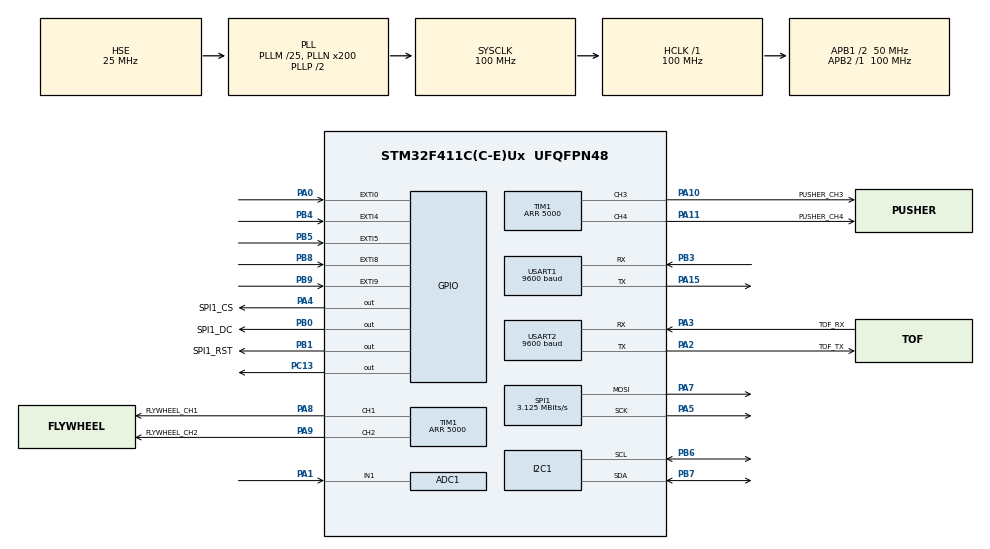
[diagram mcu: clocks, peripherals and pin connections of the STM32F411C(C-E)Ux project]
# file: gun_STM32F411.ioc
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ADC1.Channel-1\#ChannelRegularConversion=ADC_CHANNEL_1
ADC1.ContinuousConvMode=ENABLE
ADC1.DMAContinuousRequests=ENABLE
ADC1.InjNumberOfConversion=0
ADC1.NbrOfConversionFlag=1
ADC1.Rank-1\#ChannelRegularConversion=1
ADC1.SamplingTime-1\#ChannelRegularConversion=ADC_SAMPLETIME_480CYCLES
ADC1.ScanConvMode=ENABLE
ADC1.master=1
Dma.ADC1.2.Direction=DMA_PERIPH_TO_MEMORY
Dma.ADC1.2.FIFOMode=DMA_FIFOMODE_DISABLE
Dma.ADC1.2.Instance=DMA2_Stream0
Dma.ADC1.2.MemDataAlignment=DMA_MDATAALIGN_WORD
Dma.ADC1.2.MemInc=DMA_MINC_ENABLE
Dma.ADC1.2.Mode=DMA_CIRCULAR
Dma.ADC1.2.PeriphDataAlignment=DMA_PDATAALIGN_WORD
Dma.ADC1.2.PeriphInc=DMA_PINC_DISABLE
Dma.ADC1.2.Priority=DMA_PRIORITY_LOW
Dma.Request0=USART1_RX
Dma.Request1=USART2_RX
Dma.Request2=ADC1
Dma.Request3=SPI1_TX
Dma.SPI1_TX.3.Direction=DMA_MEMORY_TO_PERIPH
Dma.SPI1_TX.3.FIFOMode=DMA_FIFOMODE_DISABLE
Dma.SPI1_TX.3.Instance=DMA2_Stream3
Dma.SPI1_TX.3.MemDataAlignment=DMA_MDATAALIGN_BYTE
Dma.SPI1_TX.3.MemInc=DMA_MINC_ENABLE
Dma.SPI1_TX.3.Mode=DMA_NORMAL
Dma.SPI1_TX.3.PeriphDataAlignment=DMA_PDATAALIGN_BYTE
Dma.SPI1_TX.3.PeriphInc=DMA_PINC_DISABLE
Dma.SPI1_TX.3.Priority=DMA_PRIORITY_LOW
Dma.USART1_RX.0.Direction=DMA_PERIPH_TO_MEMORY
Dma.USART1_RX.0.FIFOMode=DMA_FIFOMODE_DISABLE
Dma.USART1_RX.0.Instance=DMA2_Stream2
Dma.USART1_RX.0.MemDataAlignment=DMA_MDATAALIGN_BYTE
Dma.USART1_RX.0.MemInc=DMA_MINC_ENABLE
Dma.USART1_RX.0.Mode=DMA_NORMAL
Dma.USART1_RX.0.PeriphDataAlignment=DMA_PDATAALIGN_BYTE
Dma.USART1_RX.0.PeriphInc=DMA_PINC_DISABLE
Dma.USART1_RX.0.Priority=DMA_PRIORITY_LOW
Dma.USART2_RX.1.Direction=DMA_PERIPH_TO_MEMORY
Dma.USART2_RX.1.FIFOMode=DMA_FIFOMODE_DISABLE
Dma.USART2_RX.1.Instance=DMA1_Stream5
Dma.USART2_RX.1.MemDataAlignment=DMA_MDATAALIGN_BYTE
Dma.USART2_RX.1.MemInc=DMA_MINC_ENABLE
Dma.USART2_RX.1.Mode=DMA_NORMAL
Dma.USART2_RX.1.PeriphDataAlignment=DMA_PDATAALIGN_BYTE
Dma.USART2_RX.1.PeriphInc=DMA_PINC_DISABLE
Dma.USART2_RX.1.Priority=DMA_PRIORITY_LOW
FREERTOS.Tasks01=defaultTask,24,128,StartDefaultTask,Default,NULL,Dynamic,NULL,NULL;commTask,24,128,StartCommTask,Default,NULL,Dynamic,NULL,NULL;displayTask,24,128,StartDisplayTask,Default,NULL,Dynamic,NULL,NULL;sensorTask,24,128,StartSensorTask,Default,NULL,Dynamic,NULL,NULL;hostRxTask,24,128,StartHostRxTask,Default,NULL,Dynamic,NULL,NULL;hostTxTask,24,128,StartHostTxTask,Default,NULL,Dynamic,NULL,NULL
FREERTOS.configUSE_NEWLIB_REENTRANT=1
Mcu.Family=STM32F4
Mcu.Name=STM32F411C(C-E)Ux
Mcu.Package=UFQFPN48
NVIC.DMA1_Stream5_IRQn=true\:5\:0\:false\:false\:true\:true\:false\:true\:true
NVIC.DMA2_Stream0_IRQn=true\:5\:0\:false\:false\:true\:true\:false\:true\:true
NVIC.DMA2_Stream2_IRQn=true\:5\:0\:false\:false\:true\:true\:false\:true\:true
NVIC.DMA2_Stream3_IRQn=true\:5\:0\:false\:false\:true\:true\:false\:true\:true
NVIC.EXTI0_IRQn=true\:5\:0\:false\:false\:true\:true\:true\:true\:true
NVIC.EXTI4_IRQn=true\:5\:0\:false\:false\:true\:true\:true\:true\:true
NVIC.EXTI9_5_IRQn=true\:5\:0\:false\:false\:true\:true\:true\:true\:true
NVIC.PriorityGroup=NVIC_PRIORITYGROUP_4
NVIC.TIM1_TRG_COM_TIM11_IRQn=true\:15\:0\:false\:false\:true\:false\:false\:true\:true
NVIC.TimeBase=TIM1_TRG_COM_TIM11_IRQn
NVIC.TimeBaseIP=TIM11
NVIC.USART1_IRQn=true\:5\:0\:false\:false\:true\:true\:true\:true\:true
NVIC.USART2_IRQn=true\:5\:0\:false\:false\:true\:true\:true\:true\:true
PA0-WKUP.Signal=GPXTI0
PA1.Signal=ADCx_IN1
PA10.GPIO_Label=PUSHER_CH3
PA10.Signal=S_TIM1_CH3
PA11.GPIO_Label=PUSHER_CH4
PA11.Signal=S_TIM1_CH4
PA13.Mode=Serial_Wire
PA13.Signal=SYS_JTMS-SWDIO
PA14.Mode=Serial_Wire
PA14.Signal=SYS_JTCK-SWCLK
PA15.Mode=Asynchronous
PA15.Signal=USART1_TX
PA2.GPIO_Label=TOF_TX
PA2.Mode=Asynchronous
PA2.Signal=USART2_TX
PA3.GPIO_Label=TOF_RX
PA3.Mode=Asynchronous
PA3.Signal=USART2_RX
PA4.GPIO_Label=SPI1_CS
PA4.Signal=GPIO_Output
PA5.Mode=TX_Only_Simplex_Unidirect_Master
PA5.Signal=SPI1_SCK
PA7.Mode=TX_Only_Simplex_Unidirect_Master
PA7.Signal=SPI1_MOSI
PA8.GPIO_Label=FLYWHEEL_CH1
PA8.Signal=S_TIM1_CH1
PA9.GPIO_Label=FLYWHEEL_CH2
PA9.Signal=S_TIM1_CH2
PB0.GPIO_Label=SPI1_DC
PB0.Signal=GPIO_Output
PB1.GPIO_Label=SPI1_RST
PB1.Signal=GPIO_Output
PB3.Mode=Asynchronous
PB3.Signal=USART1_RX
PB4.GPIO_ModeDefaultEXTI=GPIO_MODE_IT_RISING_FALLING
PB4.GPIO_PuPd=GPIO_PULLUP
PB4.Signal=GPXTI4
PB5.GPIO_ModeDefaultEXTI=GPIO_MODE_IT_RISING_FALLING
PB5.GPIO_PuPd=GPIO_PULLUP
PB5.Signal=GPXTI5
PB6.Mode=I2C
PB6.Signal=I2C1_SCL
PB7.Mode=I2C
PB7.Signal=I2C1_SDA
PB8.GPIO_ModeDefaultEXTI=GPIO_MODE_IT_RISING_FALLING
PB8.GPIO_PuPd=GPIO_PULLUP
PB8.Signal=GPXTI8
PB9.GPIO_ModeDefaultEXTI=GPIO_MODE_IT_RISING_FALLING
PB9.GPIO_PuPd=GPIO_PULLUP
PB9.Signal=GPXTI9
PC13-ANTI_TAMP.Signal=GPIO_Output
PC14-OSC32_IN.Mode=LSE-External-Oscillator
PC14-OSC32_IN.Signal=RCC_OSC32_IN
PC15-OSC32_OUT.Mode=LSE-External-Oscillator
PC15-OSC32_OUT.Signal=RCC_OSC32_OUT
PH0\ -\ OSC_IN.Mode=HSE-External-Oscillator
PH0\ -\ OSC_IN.Signal=RCC_OSC_IN
PH1\ -\ OSC_OUT.Mode=HSE-External-Oscillator
PH1\ -\ OSC_OUT.Signal=RCC_OSC_OUT
ProjectManager.HeapSize=0x200
ProjectManager.StackSize=0x400
ProjectManager.TargetToolchain=STM32CubeIDE
RCC.48MHZClocksFreq_Value=50000000
RCC.AHBFreq_Value=100000000
RCC.APB1CLKDivider=RCC_HCLK_DIV2
RCC.APB1Freq_Value=50000000
RCC.APB1TimFreq_Value=100000000
RCC.APB2Freq_Value=100000000
RCC.APB2TimFreq_Value=100000000
RCC.CortexFreq_Value=100000000
RCC.HCLKFreq_Value=100000000
RCC.HSE_VALUE=25000000
RCC.HSI_VALUE=16000000
RCC.PLLM=25
RCC.PLLN=200
RCC.PLLSourceVirtual=RCC_PLLSOURCE_HSE
RCC.SYSCLKFreq_VALUE=100000000
RCC.SYSCLKSource=RCC_SYSCLKSOURCE_PLLCLK
RCC.VCOOutputFreq_Value=200000000
SH.ADCx_IN1.0=ADC1_IN1,IN1
SH.S_TIM1_CH1.0=TIM1_CH1,PWM Generation1 CH1
SH.S_TIM1_CH2.0=TIM1_CH2,PWM Generation2 CH2
SH.S_TIM1_CH3.0=TIM1_CH3,PWM Generation3 CH3
SH.S_TIM1_CH4.0=TIM1_CH4,PWM Generation4 CH4
SPI1.BaudRatePrescaler=SPI_BAUDRATEPRESCALER_32
SPI1.CalculateBaudRate=3.125 MBits/s
SPI1.Direction=SPI_DIRECTION_2LINES
SPI1.Mode=SPI_MODE_MASTER
SPI1.VirtualType=VM_MASTER
TIM1.Channel-PWM\ Generation1\ CH1=TIM_CHANNEL_1
TIM1.Channel-PWM\ Generation2\ CH2=TIM_CHANNEL_2
TIM1.Channel-PWM\ Generation3\ CH3=TIM_CHANNEL_3
TIM1.Channel-PWM\ Generation4\ CH4=TIM_CHANNEL_4
TIM1.Period=5000
USART1.BaudRate=9600
USART1.VirtualMode=VM_ASYNC
USART2.BaudRate=9600
USART2.VirtualMode=VM_ASYNC
VP_FREERTOS_VS_CMSIS_V2.Mode=CMSIS_V2
VP_SYS_VS_tim11.Mode=TIM11
board=custom

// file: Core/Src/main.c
/* USER CODE BEGIN Header */
/**
  ******************************************************************************
  * @file           : main.c
  * @brief          : Main program body
  ******************************************************************************
  * @attention
  *
  * Copyright (c) 2025 STMicroelectronics.
  * All rights reserved.
  *
  * This software is licensed under terms that can be found in the LICENSE file
  * in the root directory of this software component.
  * If no LICENSE file comes with this software, it is provided AS-IS.
  *
  ******************************************************************************
  */
/* USER CODE END Header */
#include "main.h"
#include "cmsis_os.h"

/* USER CODE BEGIN Includes */
#include <stdbool.h>
#include <string.h>
#include <stdio.h>
#include <stdlib.h>
#include "GC9A01.h"
/* USER CODE END Includes */

/* USER CODE BEGIN PD */
#define RX_BUFFER_SIZE   64
#define TX_BUFFER_SIZE   64
#define LINE_BUFFER_SIZE 64
#define ADC_BUF_LEN      32 // must be even (half-buffer processing)
#define VREF             3.3f  // VDDA if you don’t compensate with Vrefint
#define DIV_SCALE        ((9.5f + 21.2f) / 9.5f)  // 3.2 for 10k/22k
#define ADC_MAX          4095.0f
/* USER CODE END PD */

ADC_HandleTypeDef hadc1;
DMA_HandleTypeDef hdma_adc1;

I2C_HandleTypeDef hi2c1;

SPI_HandleTypeDef hspi1;
DMA_HandleTypeDef hdma_spi1_tx;

TIM_HandleTypeDef htim1;

UART_HandleTypeDef huart1;
UART_HandleTypeDef huart2;
DMA_HandleTypeDef hdma_usart1_rx;
DMA_HandleTypeDef hdma_usart2_rx;

/* Definitions for defaultTask */
osThreadId_t defaultTaskHandle;
const osThreadAttr_t defaultTask_attributes = {
  .name = "defaultTask",
  .stack_size = 128 * 4,
  .priority = (osPriority_t) osPriorityNormal,
};
/* Definitions for commTask */
osThreadId_t commTaskHandle;
const osThreadAttr_t commTask_attributes = {
  .name = "commTask",
  .stack_size = 128 * 4,
  .priority = (osPriority_t) osPriorityNormal,
};
/* Definitions for displayTask */
osThreadId_t displayTaskHandle;
const osThreadAttr_t displayTask_attributes = {
  .name = "displayTask",
  .stack_size = 128 * 4,
  .priority = (osPriority_t) osPriorityNormal,
};
/* Definitions for sensorTask */
osThreadId_t sensorTaskHandle;
const osThreadAttr_t sensorTask_attributes = {
  .name = "sensorTask",
  .stack_size = 128 * 4,
  .priority = (osPriority_t) osPriorityNormal,
};
/* Definitions for hostRxTask */
osThreadId_t hostRxTaskHandle;
const osThreadAttr_t hostRxTask_attributes = {
  .name = "hostRxTask",
  .stack_size = 128 * 4,
  .priority = (osPriority_t) osPriorityNormal,
};
/* Definitions for hostTxTask */
osThreadId_t hostTxTaskHandle;
const osThreadAttr_t hostTxTask_attributes = {
  .name = "hostTxTask",
  .stack_size = 128 * 4,
  .priority = (osPriority_t) osPriorityNormal,
};
/* USER CODE BEGIN PV */
uint8_t rxBuffer[RX_BUFFER_SIZE]; // ToF sensor comm
uint8_t txBuffer[TX_BUFFER_SIZE]; // ToF sensor comm

volatile uint16_t rxLen = 0; // ToF sensor comm

static volatile uint32_t adc_buf[ADC_BUF_LEN] __attribute__((aligned(4)));

static volatile float battery_voltage = 0;

volatile bool magazine = false;
volatile bool trigger1 = false;
volatile bool trigger2 = false;
volatile bool pusher_switch = false;
volatile bool trigger2_latched = false;
volatile bool need_false = false;
volatile bool armed = false;

static volatile uint32_t distance = 9999;
static uint8_t ammo_counter = 12;
volatile bool no_mag_flag = false;
volatile bool was_no_mag_flag = false;
volatile bool shot_is_happening = false;
uint8_t shot_counter = 0;

uint8_t rxCommBuffer[RX_BUFFER_SIZE];
uint8_t txCommBuffer[TX_BUFFER_SIZE];
uint8_t lineBuffer[LINE_BUFFER_SIZE];
volatile uint16_t rxCommLen = 0;
uint16_t lineBufferIndex = 0;

static volatile uint32_t shot_timestamp = 0;
volatile uint32_t speed_up_threshold = 2000;
volatile uint32_t shooting_cooldown = 1500;
static volatile uint32_t sequence_time = 0;
static volatile uint32_t last_shot = 0;
/* USER CODE END PV */

void SystemClock_Config(void);
static void MX_GPIO_Init(void);
static void MX_DMA_Init(void);
static void MX_ADC1_Init(void);
static void MX_I2C1_Init(void);
static void MX_SPI1_Init(void);
static void MX_TIM1_Init(void);
static void MX_USART1_UART_Init(void);
static void MX_USART2_UART_Init(void);
void StartDefaultTask(void *argument);
void StartCommTask(void *argument);
void StartDisplayTask(void *argument);
void StartSensorTask(void *argument);
void StartHostRxTask(void *argument);
void StartHostTxTask(void *argument);

int main(void)
{

  /* MCU Configuration--------------------------------------------------------*/

  /* Reset of all peripherals, Initializes the Flash interface and the Systick. */
  HAL_Init();

  /* Configure the system clock */
  SystemClock_Config();

  /* Initialize all configured peripherals */
  MX_GPIO_Init();
  MX_DMA_Init();
  MX_ADC1_Init();
  MX_I2C1_Init();
  MX_SPI1_Init();
  MX_TIM1_Init();
  MX_USART1_UART_Init();
  MX_USART2_UART_Init();

  /* Init scheduler */
  osKernelInitialize();

  /* Create the thread(s) */
  /* creation of defaultTask */
  defaultTaskHandle = osThreadNew(StartDefaultTask, NULL, &defaultTask_attributes);

  /* creation of commTask */
  commTaskHandle = osThreadNew(StartCommTask, NULL, &commTask_attributes);

  /* creation of displayTask */
  displayTaskHandle = osThreadNew(StartDisplayTask, NULL, &displayTask_attributes);

  /* creation of sensorTask */
  sensorTaskHandle = osThreadNew(StartSensorTask, NULL, &sensorTask_attributes);

  /* creation of hostRxTask */
  hostRxTaskHandle = osThreadNew(StartHostRxTask, NULL, &hostRxTask_attributes);

  /* creation of hostTxTask */
  hostTxTaskHandle = osThreadNew(StartHostTxTask, NULL, &hostTxTask_attributes);

  /* Start scheduler */
  osKernelStart();

  /* We should never get here as control is now taken by the scheduler */

  /* Infinite loop */
  while (1)
  {

  }
}

void SystemClock_Config(void)
{
  RCC_OscInitTypeDef RCC_OscInitStruct = {0};
  RCC_ClkInitTypeDef RCC_ClkInitStruct = {0};

  /** Configure the main internal regulator output voltage
  */
  __HAL_RCC_PWR_CLK_ENABLE();
  __HAL_PWR_VOLTAGESCALING_CONFIG(PWR_REGULATOR_VOLTAGE_SCALE1);

  /** Initializes the RCC Oscillators according to the specified parameters
  * in the RCC_OscInitTypeDef structure.
  */
  RCC_OscInitStruct.OscillatorType = RCC_OSCILLATORTYPE_HSE;
  RCC_OscInitStruct.HSEState = RCC_HSE_ON;
  RCC_OscInitStruct.PLL.PLLState = RCC_PLL_ON;
  RCC_OscInitStruct.PLL.PLLSource = RCC_PLLSOURCE_HSE;
  RCC_OscInitStruct.PLL.PLLM = 25;
  RCC_OscInitStruct.PLL.PLLN = 200;
  RCC_OscInitStruct.PLL.PLLP = RCC_PLLP_DIV2;
  RCC_OscInitStruct.PLL.PLLQ = 4;
  if (HAL_RCC_OscConfig(&RCC_OscInitStruct) != HAL_OK)
  {
    Error_Handler();
  }

  /** Initializes the CPU, AHB and APB buses clocks
  */
  RCC_ClkInitStruct.ClockType = RCC_CLOCKTYPE_HCLK|RCC_CLOCKTYPE_SYSCLK
                              |RCC_CLOCKTYPE_PCLK1|RCC_CLOCKTYPE_PCLK2;
  RCC_ClkInitStruct.SYSCLKSource = RCC_SYSCLKSOURCE_PLLCLK;
  RCC_ClkInitStruct.AHBCLKDivider = RCC_SYSCLK_DIV1;
  RCC_ClkInitStruct.APB1CLKDivider = RCC_HCLK_DIV2;
  RCC_ClkInitStruct.APB2CLKDivider = RCC_HCLK_DIV1;

  if (HAL_RCC_ClockConfig(&RCC_ClkInitStruct, FLASH_LATENCY_3) != HAL_OK)
  {
    Error_Handler();
  }
}

static void MX_ADC1_Init(void)
{

  ADC_ChannelConfTypeDef sConfig = {0};

  /** Configure the global features of the ADC (Clock, Resolution, Data Alignment and number of conversion)
  */
  hadc1.Instance = ADC1;
  hadc1.Init.ClockPrescaler = ADC_CLOCK_SYNC_PCLK_DIV4;
  hadc1.Init.Resolution = ADC_RESOLUTION_12B;
  hadc1.Init.ScanConvMode = ENABLE;
  hadc1.Init.ContinuousConvMode = ENABLE;
  hadc1.Init.DiscontinuousConvMode = DISABLE;
  hadc1.Init.ExternalTrigConvEdge = ADC_EXTERNALTRIGCONVEDGE_NONE;
  hadc1.Init.ExternalTrigConv = ADC_SOFTWARE_START;
  hadc1.Init.DataAlign = ADC_DATAALIGN_RIGHT;
  hadc1.Init.NbrOfConversion = 1;
  hadc1.Init.DMAContinuousRequests = ENABLE;
  hadc1.Init.EOCSelection = ADC_EOC_SINGLE_CONV;
  if (HAL_ADC_Init(&hadc1) != HAL_OK)
  {
    Error_Handler();
  }

  /** Configure for the selected ADC regular channel its corresponding rank in the sequencer and its sample time.
  */
  sConfig.Channel = ADC_CHANNEL_1;
  sConfig.Rank = 1;
  sConfig.SamplingTime = ADC_SAMPLETIME_480CYCLES;
  if (HAL_ADC_ConfigChannel(&hadc1, &sConfig) != HAL_OK)
  {
    Error_Handler();
  }

}

static void MX_I2C1_Init(void)
{

  hi2c1.Instance = I2C1;
  hi2c1.Init.ClockSpeed = 100000;
  hi2c1.Init.DutyCycle = I2C_DUTYCYCLE_2;
  hi2c1.Init.OwnAddress1 = 0;
  hi2c1.Init.AddressingMode = I2C_ADDRESSINGMODE_7BIT;
  hi2c1.Init.DualAddressMode = I2C_DUALADDRESS_DISABLE;
  hi2c1.Init.OwnAddress2 = 0;
  hi2c1.Init.GeneralCallMode = I2C_GENERALCALL_DISABLE;
  hi2c1.Init.NoStretchMode = I2C_NOSTRETCH_DISABLE;
  if (HAL_I2C_Init(&hi2c1) != HAL_OK)
  {
    Error_Handler();
  }

}

static void MX_SPI1_Init(void)
{

  /* SPI1 parameter configuration*/
  hspi1.Instance = SPI1;
  hspi1.Init.Mode = SPI_MODE_MASTER;
  hspi1.Init.Direction = SPI_DIRECTION_2LINES;
  hspi1.Init.DataSize = SPI_DATASIZE_8BIT;
  hspi1.Init.CLKPolarity = SPI_POLARITY_LOW;
  hspi1.Init.CLKPhase = SPI_PHASE_1EDGE;
  hspi1.Init.NSS = SPI_NSS_SOFT;
  hspi1.Init.BaudRatePrescaler = SPI_BAUDRATEPRESCALER_32;
  hspi1.Init.FirstBit = SPI_FIRSTBIT_MSB;
  hspi1.Init.TIMode = SPI_TIMODE_DISABLE;
  hspi1.Init.CRCCalculation = SPI_CRCCALCULATION_DISABLE;
  hspi1.Init.CRCPolynomial = 10;
  if (HAL_SPI_Init(&hspi1) != HAL_OK)
  {
    Error_Handler();
  }

}

static void MX_TIM1_Init(void)
{

  TIM_MasterConfigTypeDef sMasterConfig = {0};
  TIM_OC_InitTypeDef sConfigOC = {0};
  TIM_BreakDeadTimeConfigTypeDef sBreakDeadTimeConfig = {0};

  htim1.Instance = TIM1;
  htim1.Init.Prescaler = 0;
  htim1.Init.CounterMode = TIM_COUNTERMODE_UP;
  htim1.Init.Period = 5000;
  htim1.Init.ClockDivision = TIM_CLOCKDIVISION_DIV1;
  htim1.Init.RepetitionCounter = 0;
  htim1.Init.AutoReloadPreload = TIM_AUTORELOAD_PRELOAD_DISABLE;
  if (HAL_TIM_PWM_Init(&htim1) != HAL_OK)
  {
    Error_Handler();
  }
  sMasterConfig.MasterOutputTrigger = TIM_TRGO_RESET;
  sMasterConfig.MasterSlaveMode = TIM_MASTERSLAVEMODE_DISABLE;
  if (HAL_TIMEx_MasterConfigSynchronization(&htim1, &sMasterConfig) != HAL_OK)
  {
    Error_Handler();
  }
  sConfigOC.OCMode = TIM_OCMODE_PWM1;
  sConfigOC.Pulse = 0;
  sConfigOC.OCPolarity = TIM_OCPOLARITY_HIGH;
  sConfigOC.OCNPolarity = TIM_OCNPOLARITY_HIGH;
  sConfigOC.OCFastMode = TIM_OCFAST_DISABLE;
  sConfigOC.OCIdleState = TIM_OCIDLESTATE_RESET;
  sConfigOC.OCNIdleState = TIM_OCNIDLESTATE_RESET;
  if (HAL_TIM_PWM_ConfigChannel(&htim1, &sConfigOC, TIM_CHANNEL_1) != HAL_OK)
  {
    Error_Handler();
  }
  if (HAL_TIM_PWM_ConfigChannel(&htim1, &sConfigOC, TIM_CHANNEL_2) != HAL_OK)
  {
    Error_Handler();
  }
  if (HAL_TIM_PWM_ConfigChannel(&htim1, &sConfigOC, TIM_CHANNEL_3) != HAL_OK)
  {
    Error_Handler();
  }
  if (HAL_TIM_PWM_ConfigChannel(&htim1, &sConfigOC, TIM_CHANNEL_4) != HAL_OK)
  {
    Error_Handler();
  }
  sBreakDeadTimeConfig.OffStateRunMode = TIM_OSSR_DISABLE;
  sBreakDeadTimeConfig.OffStateIDLEMode = TIM_OSSI_DISABLE;
  sBreakDeadTimeConfig.LockLevel = TIM_LOCKLEVEL_OFF;
  sBreakDeadTimeConfig.DeadTime = 0;
  sBreakDeadTimeConfig.BreakState = TIM_BREAK_DISABLE;
  sBreakDeadTimeConfig.BreakPolarity = TIM_BREAKPOLARITY_HIGH;
  sBreakDeadTimeConfig.AutomaticOutput = TIM_AUTOMATICOUTPUT_DISABLE;
  if (HAL_TIMEx_ConfigBreakDeadTime(&htim1, &sBreakDeadTimeConfig) != HAL_OK)
  {
    Error_Handler();
  }
  HAL_TIM_MspPostInit(&htim1);

}

static void MX_USART1_UART_Init(void)
{

  huart1.Instance = USART1;
  huart1.Init.BaudRate = 9600;
  huart1.Init.WordLength = UART_WORDLENGTH_8B;
  huart1.Init.StopBits = UART_STOPBITS_1;
  huart1.Init.Parity = UART_PARITY_NONE;
  huart1.Init.Mode = UART_MODE_TX_RX;
  huart1.Init.HwFlowCtl = UART_HWCONTROL_NONE;
  huart1.Init.OverSampling = UART_OVERSAMPLING_16;
  if (HAL_UART_Init(&huart1) != HAL_OK)
  {
    Error_Handler();
  }

}

static void MX_USART2_UART_Init(void)
{

  huart2.Instance = USART2;
  huart2.Init.BaudRate = 9600;
  huart2.Init.WordLength = UART_WORDLENGTH_8B;
  huart2.Init.StopBits = UART_STOPBITS_1;
  huart2.Init.Parity = UART_PARITY_NONE;
  huart2.Init.Mode = UART_MODE_TX_RX;
  huart2.Init.HwFlowCtl = UART_HWCONTROL_NONE;
  huart2.Init.OverSampling = UART_OVERSAMPLING_16;
  if (HAL_UART_Init(&huart2) != HAL_OK)
  {
    Error_Handler();
  }

}

static void MX_DMA_Init(void)
{

  /* DMA controller clock enable */
  __HAL_RCC_DMA2_CLK_ENABLE();
  __HAL_RCC_DMA1_CLK_ENABLE();

  /* DMA interrupt init */
  /* DMA1_Stream5_IRQn interrupt configuration */
  HAL_NVIC_SetPriority(DMA1_Stream5_IRQn, 5, 0);
  HAL_NVIC_EnableIRQ(DMA1_Stream5_IRQn);
  /* DMA2_Stream0_IRQn interrupt configuration */
  HAL_NVIC_SetPriority(DMA2_Stream0_IRQn, 5, 0);
  HAL_NVIC_EnableIRQ(DMA2_Stream0_IRQn);
  /* DMA2_Stream2_IRQn interrupt configuration */
  HAL_NVIC_SetPriority(DMA2_Stream2_IRQn, 5, 0);
  HAL_NVIC_EnableIRQ(DMA2_Stream2_IRQn);
  /* DMA2_Stream3_IRQn interrupt configuration */
  HAL_NVIC_SetPriority(DMA2_Stream3_IRQn, 5, 0);
  HAL_NVIC_EnableIRQ(DMA2_Stream3_IRQn);

}

static void MX_GPIO_Init(void)
{
  GPIO_InitTypeDef GPIO_InitStruct = {0};

  /* GPIO Ports Clock Enable */
  __HAL_RCC_GPIOC_CLK_ENABLE();
  __HAL_RCC_GPIOH_CLK_ENABLE();
  __HAL_RCC_GPIOA_CLK_ENABLE();
  __HAL_RCC_GPIOB_CLK_ENABLE();

  /*Configure GPIO pin Output Level */
  HAL_GPIO_WritePin(GPIOC, GPIO_PIN_13, GPIO_PIN_RESET);

  /*Configure GPIO pin Output Level */
  HAL_GPIO_WritePin(SPI1_CS_GPIO_Port, SPI1_CS_Pin, GPIO_PIN_RESET);

  /*Configure GPIO pin Output Level */
  HAL_GPIO_WritePin(GPIOB, SPI1_DC_Pin|SPI1_RST_Pin, GPIO_PIN_RESET);

  /*Configure GPIO pin : PC13 */
  GPIO_InitStruct.Pin = GPIO_PIN_13;
  GPIO_InitStruct.Mode = GPIO_MODE_OUTPUT_PP;
  GPIO_InitStruct.Pull = GPIO_NOPULL;
  GPIO_InitStruct.Speed = GPIO_SPEED_FREQ_LOW;
  HAL_GPIO_Init(GPIOC, &GPIO_InitStruct);

  /*Configure GPIO pin : PA0 */
  GPIO_InitStruct.Pin = GPIO_PIN_0;
  GPIO_InitStruct.Mode = GPIO_MODE_IT_RISING;
  GPIO_InitStruct.Pull = GPIO_NOPULL;
  HAL_GPIO_Init(GPIOA, &GPIO_InitStruct);

  /*Configure GPIO pin : SPI1_CS_Pin */
  GPIO_InitStruct.Pin = SPI1_CS_Pin;
  GPIO_InitStruct.Mode = GPIO_MODE_OUTPUT_PP;
  GPIO_InitStruct.Pull = GPIO_NOPULL;
  GPIO_InitStruct.Speed = GPIO_SPEED_FREQ_LOW;
  HAL_GPIO_Init(SPI1_CS_GPIO_Port, &GPIO_InitStruct);

  /*Configure GPIO pins : SPI1_DC_Pin SPI1_RST_Pin */
  GPIO_InitStruct.Pin = SPI1_DC_Pin|SPI1_RST_Pin;
  GPIO_InitStruct.Mode = GPIO_MODE_OUTPUT_PP;
  GPIO_InitStruct.Pull = GPIO_NOPULL;
  GPIO_InitStruct.Speed = GPIO_SPEED_FREQ_LOW;
  HAL_GPIO_Init(GPIOB, &GPIO_InitStruct);

  /*Configure GPIO pins : PB4 PB5 PB8 PB9 */
  GPIO_InitStruct.Pin = GPIO_PIN_4|GPIO_PIN_5|GPIO_PIN_8|GPIO_PIN_9;
  GPIO_InitStruct.Mode = GPIO_MODE_IT_RISING_FALLING;
  GPIO_InitStruct.Pull = GPIO_PULLUP;
  HAL_GPIO_Init(GPIOB, &GPIO_InitStruct);

  /* EXTI interrupt init*/
  HAL_NVIC_SetPriority(EXTI0_IRQn, 5, 0);
  HAL_NVIC_EnableIRQ(EXTI0_IRQn);

  HAL_NVIC_SetPriority(EXTI4_IRQn, 5, 0);
  HAL_NVIC_EnableIRQ(EXTI4_IRQn);

  HAL_NVIC_SetPriority(EXTI9_5_IRQn, 5, 0);
  HAL_NVIC_EnableIRQ(EXTI9_5_IRQn);

}

/* USER CODE BEGIN 4 */
void HAL_GPIO_EXTI_Callback(uint16_t GPIO_Pin) {
	switch (GPIO_Pin) {
	case GPIO_PIN_4:
		if (HAL_GPIO_ReadPin(GPIOB, GPIO_PIN_4) == GPIO_PIN_RESET){
			pusher_switch = true;
		}
		else {
			pusher_switch = false;
		}
		break;
	case GPIO_PIN_5:
		if (HAL_GPIO_ReadPin(GPIOB, GPIO_PIN_5) == GPIO_PIN_RESET){
			magazine = true;
		}
		else {
			magazine = false;
		}
		break;
	case GPIO_PIN_8:
		if (HAL_GPIO_ReadPin(GPIOB, GPIO_PIN_8) == GPIO_PIN_RESET){
			trigger1 = true;
		}
		else {
			trigger1 = false;
		}
		break;
	case GPIO_PIN_9:
		if (HAL_GPIO_ReadPin(GPIOB, GPIO_PIN_9) == GPIO_PIN_RESET){
			trigger2 = true;
		}
		else {
			trigger2 = false;
		}
		break;
	}
}

void HAL_ADC_ConvHalfCpltCallback(ADC_HandleTypeDef *hadc)
{
    if (hadc == &hadc1) {
        process_half(0, ADC_BUF_LEN / 2);
    }
}

void HAL_ADC_ConvCpltCallback(ADC_HandleTypeDef *hadc)
{
    if (hadc == &hadc1) {
        process_half(ADC_BUF_LEN / 2, ADC_BUF_LEN / 2);
    }
}

static void process_half(size_t offset, size_t count)
{
    uint32_t sum = 0;

    // If your buffer is uint32_t, the 12-bit value sits in the lower bits (right-aligned)
    for (size_t i = 0; i < count; ++i) {
        sum += (uint16_t)adc_buf[offset + i];
    }

    uint16_t avg_raw = (uint16_t)(sum / count);

    float v_pin  = (avg_raw * VREF) / ADC_MAX;
    battery_voltage = v_pin * DIV_SCALE;
}
/* USER CODE END 4 */

void StartDefaultTask(void *argument)
{
  /* USER CODE BEGIN 5 */
  HAL_TIM_PWM_Start(&htim1, TIM_CHANNEL_1);
  HAL_TIMEx_PWMN_Start(&htim1, TIM_CHANNEL_1);
  HAL_TIM_PWM_Start(&htim1, TIM_CHANNEL_2);
  HAL_TIMEx_PWMN_Start(&htim1, TIM_CHANNEL_2);
  HAL_TIM_PWM_Start(&htim1, TIM_CHANNEL_3);
  HAL_TIMEx_PWMN_Start(&htim1, TIM_CHANNEL_3);
  HAL_TIM_PWM_Start(&htim1, TIM_CHANNEL_4);
  HAL_TIMEx_PWMN_Start(&htim1, TIM_CHANNEL_4);

  //Initialize speeder motor controls
  TIM1->CCR1 = 0*5000/100;
  TIM1->CCR2 = 0*5000/100;

  TIM1->CCR3 = 0*5000/100;
  TIM1->CCR4 = 0*5000/100;

  uint16_t i = 0;
  HAL_GPIO_TogglePin(GPIOC, GPIO_PIN_13);

  /* Infinite loop */
  for(;;)
  {

	if (trigger1 && trigger2) {
		shot_counter = 1;
	}

	// automatic control
	if (shot_counter > 0 && ammo_counter > 0){
		shot_is_happening = true;
		sequence_time = HAL_GetTick() - shot_timestamp;

		// note: sequence starts from else branch and goes up on the tree!
		if ( sequence_time > 700) {
			TIM1->CCR1 = 90*5000/100;
			TIM1->CCR2 = 0*5000/100;
		}
		else if ( sequence_time > 500) {
			TIM1->CCR1 = 87*5000/100;
			TIM1->CCR2 = 0*5000/100;
		}
		else if ( sequence_time > 400) {
			TIM1->CCR1 = 85*5000/100;
			TIM1->CCR2 = 0*5000/100;
		}
		else if ( sequence_time > 200) {
			// then give it a kick to overcome static friction of the spinner wheels
			TIM1->CCR1 = 80*5000/100;
			TIM1->CCR2 = 0*5000/100;
		}
		else {
			// in the first few 100 ms give time to the motor to go from dynamic braking to high Z
			TIM1->CCR1 = 0*5000/100;
			TIM1->CCR2 = 0*5000/100;
		}

		// volatile uint32_t speed_up_threshold = 3500;
		if ( sequence_time > speed_up_threshold) {
			//HAL_GPIO_TogglePin(GPIOC, GPIO_PIN_13);
			if (HAL_GetTick() - last_shot > shooting_cooldown) {
				TIM1->CCR3 = 70*5000/100;
				TIM1->CCR4 = 0*5000/100;
			}
			else {
				TIM1->CCR3 = 0*5000/100;
				TIM1->CCR4 = 0*5000/100;
			}

			if (pusher_switch == false) {
				armed = true;
			}

			if (armed && pusher_switch) {
				ammo_counter--;
				shot_counter--;
				armed=false;
				last_shot = HAL_GetTick();
			}

			if (ammo_counter == 0) {
				shot_counter = 0;
			}

			if (ammo_counter == 0 || shot_counter == 0) {
				// go to dynamic breaking
				TIM1->CCR1 = 100*5000/100;
				TIM1->CCR2 = 100*5000/100;
				shot_is_happening = false;
			}

		}

	}
	else {
		TIM1->CCR1 = 100*5000/100;
		TIM1->CCR2 = 100*5000/100;
		TIM1->CCR3 = 0*5000/100;
		TIM1->CCR4 = 0*5000/100;
		shot_is_happening = false;
	}

    osDelay(1);

    i++;
    if ((i == 300) || (i == 500) || (i == 800) || (i == 1000)){
	    HAL_GPIO_TogglePin(GPIOC, GPIO_PIN_13);
    }
    if (i==1500) {
	    i = 0;
    }

  }
  /* USER CODE END 5 */
}

void StartCommTask(void *argument)
{
  /* USER CODE BEGIN StartCommTask */
  HAL_UART_Receive_DMA(&huart2, rxBuffer, RX_BUFFER_SIZE);
  __HAL_UART_ENABLE_IT(&huart2, UART_IT_IDLE);
  /* Infinite loop */
  for(;;)
  {

	// Wait for notification from ISR
	ulTaskNotifyTake(pdTRUE, portMAX_DELAY);

	// Process received data
	if(rxLen > 0)
	{
		// Look for '\n'
		char* newlinePos = memchr(rxBuffer, '\n', rxLen);
		if(newlinePos)
		{
			size_t msgLen = newlinePos - (char*)rxBuffer;
			if(msgLen >= RX_BUFFER_SIZE) msgLen = RX_BUFFER_SIZE - 1;

			// Null-terminate
			rxBuffer[msgLen] = '\0';

			// Look for "mm" in the string
			char *mmPtr = strstr((char*)rxBuffer, "mm");
			if (mmPtr != NULL) {
				*mmPtr = '\0'; // cut off at "mm"
				distance = atoi((char*)rxBuffer); // convert number part

				if (shot_is_happening == false){

					if (distance > 20) {
						//ammo_counter = 0;
						//shot_counter = 0;
					}
					else {
						if (was_no_mag_flag){
							ammo_counter = 12;
							was_no_mag_flag = false;
						}
					}

					if (distance > 70) {
						no_mag_flag = true;
						was_no_mag_flag = true;
					}
					else {
						no_mag_flag = false;
					}

				}

			} else {
				distance = 9999;
			}
		}
	}

	// Reset buffer length
	rxLen = 0;

    osDelay(1);
  }
  /* USER CODE END StartCommTask */
}

void StartDisplayTask(void *argument)
{
  /* USER CODE BEGIN StartDisplayTask */
	GC9A01_Init();

	GC9A01_FillRect(50,50,50,50,0xFFFF);

  /* Infinite loop */
  for(;;)
  {
      //gc9a01_fill_screen(GC9A01_BLUE);
      //gc9a01_draw_hline(10, 10, 220, GC9A01_WHITE);
      //gc9a01_draw_vline(10, 10, 220, GC9A01_WHITE);
      //gc9a01_draw_pixel(120, 120, GC9A01_RED);

      // Draw a gradient block using streaming API
      /*
      uint16_t w = 100, h = 100; uint16_t x=70, y=70;
      gc9a01_start_write_window(x,y,w,h);
      for (uint32_t j=0;j<h;j++) {
          for (uint32_t i=0;i<w;i++) {
              uint8_t r = (i*255)/w;
              uint8_t g = (j*255)/h;
              uint8_t b = 128;
              uint16_t c = GC9A01_COLOR(r,g,b);
              gc9a01_write_color_repeat(c, 1);
          }
      }
      */
      //gc9a01_end_write();
    osDelay(1000);
  }
  /* USER CODE END StartDisplayTask */
}

void StartSensorTask(void *argument)
{
  /* USER CODE BEGIN StartSensorTask */
  HAL_ADC_Start_DMA(&hadc1, (uint32_t*)adc_buf, ADC_BUF_LEN);
  /* Infinite loop */
  for(;;)
  {

	if (HAL_GPIO_ReadPin(GPIOB, GPIO_PIN_4) == GPIO_PIN_RESET){
		pusher_switch = true;
	}
	else {
		pusher_switch = false;
	}

	if (HAL_GPIO_ReadPin(GPIOB, GPIO_PIN_5) == GPIO_PIN_RESET){
		magazine = true;
	}
	else {
		magazine = false;
	}

	if (HAL_GPIO_ReadPin(GPIOB, GPIO_PIN_8) == GPIO_PIN_RESET){
		trigger1 = true;
	}
	else {
		trigger1 = false;
	}

	if (HAL_GPIO_ReadPin(GPIOB, GPIO_PIN_9) == GPIO_PIN_RESET){
		trigger2 = true;
		if (need_false) {
			trigger2_latched = true;
		}

	}
	else {
		trigger2 = false;
		need_false = true;
	}

	osDelay(10);
  }
  /* USER CODE END StartSensorTask */
}

void StartHostRxTask(void *argument)
{
  /* USER CODE BEGIN StartHostRxTask */
  HAL_UART_Receive_DMA(&huart1, rxBuffer, RX_BUFFER_SIZE);
  __HAL_UART_ENABLE_IT(&huart1, UART_IT_IDLE);
  /* Infinite loop */
  for(;;)
  {
      // Wait for notification from ISR
      ulTaskNotifyTake(pdTRUE, portMAX_DELAY);

      // rxCommBuffer[0..rxCommLen] ends with \n, safe to process
      //memcpy(lineBuffer, rxCommBuffer, rxCommLen);
      lineBuffer[lineBufferIndex] = '\0'; // Null-terminate
      lineBufferIndex = 0;

	  // Build response
	  // Check for prefix "PWD:"
	  if (strncmp((char*)lineBuffer, "AMMO", 4) == 0)
	  {
		  snprintf((char*)txCommBuffer, TX_BUFFER_SIZE, "AMMO:%d\r\n", ammo_counter);
	  }
	  else if (strncmp((char*)lineBuffer, "DIST", 4) == 0)
	  {
		  snprintf((char*)txCommBuffer, TX_BUFFER_SIZE, "DIST:%d\r\n", (int)distance);
	  }
	  else if (strncmp((char*)lineBuffer, "MAG", 3) == 0)
	  {
		  snprintf((char*)txCommBuffer, TX_BUFFER_SIZE, "MAG:%s\r\n", no_mag_flag ? "False" : "True");
	  }
	  else if (strncmp((char*)lineBuffer, "BAT", 3) == 0)
	  {
		  snprintf((char*)txCommBuffer, TX_BUFFER_SIZE, "BAT:%d\r\n", (int)(battery_voltage*10));
	  }
	  else if (strncmp((char*)lineBuffer, "STAT", 4) == 0)
	  {
		  snprintf((char*)txCommBuffer, TX_BUFFER_SIZE, "STAT:%d;%d;%d;%s;END\r\n", ammo_counter, (int)distance, (int)(battery_voltage*10), no_mag_flag ? "False" : "True");
	  }
	  else if (strncmp((char*)lineBuffer, "SHOT:", 5) == 0)
	  {
          char ch = lineBuffer[5];

          // Check if it's a digit between '1' and '9'
          if (ch >= '1' && ch <= '9')
          {
              shot_counter = ch - '0';

              snprintf((char*)txCommBuffer, TX_BUFFER_SIZE, "SHOT:%d\r\n", shot_counter);

              shot_timestamp = HAL_GetTick();
          }
          else
          {
        	  snprintf((char*)txCommBuffer, TX_BUFFER_SIZE, "SHOT ERROR:%.50s\r\n", lineBuffer);
          }

	  }
	  else
	  {
		  snprintf((char*)txCommBuffer, TX_BUFFER_SIZE, "ERR:%.50s\r\n", lineBuffer);
	  }

	  // Send response
	  HAL_UART_Transmit(&huart1, txCommBuffer, strlen((char*)txCommBuffer), HAL_MAX_DELAY);
	  osDelay(1);
  }
  /* USER CODE END StartHostRxTask */
}

void StartHostTxTask(void *argument)
{
  for(;;)
  {
    osDelay(1);
  }
}

void HAL_TIM_PeriodElapsedCallback(TIM_HandleTypeDef *htim)
{
  if (htim->Instance == TIM11)
  {
    HAL_IncTick();
  }
}

void Error_Handler(void)
{
  __disable_irq();
  while (1)
  {
  }
}
